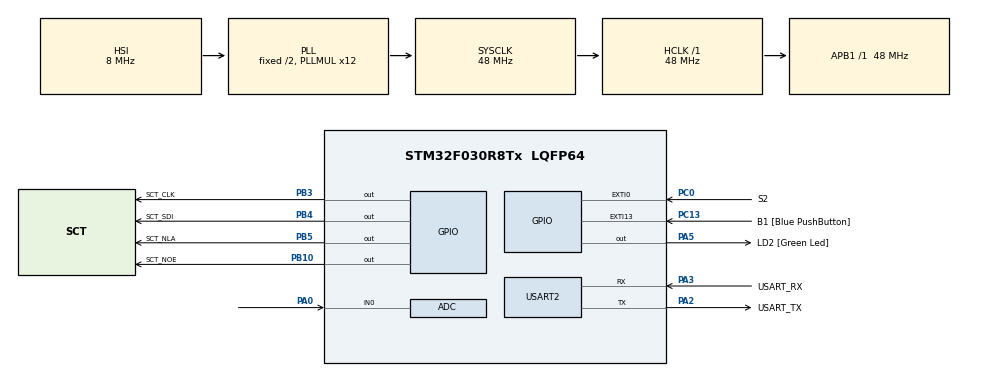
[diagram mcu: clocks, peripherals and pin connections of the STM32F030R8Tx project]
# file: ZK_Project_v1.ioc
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ADC.ContinuousConvMode=ENABLE
ADC.Overrun=ADC_OVR_DATA_OVERWRITTEN
ADC.SamplingTime=ADC_SAMPLETIME_239CYCLES_5
Mcu.Family=STM32F0
Mcu.Name=STM32F030R8Tx
Mcu.Package=LQFP64
NVIC.ADC1_IRQn=true\:0\:0\:false\:false\:true\:true\:true\:true
NVIC.EXTI0_1_IRQn=true\:0\:0\:false\:false\:true\:true\:true\:true
PA0.Mode=IN0
PA0.Signal=ADC_IN0
PA13.GPIO_Label=TMS
PA13.Mode=Serial_Wire
PA13.Signal=SYS_SWDIO
PA14.GPIO_Label=TCK
PA14.Mode=Serial_Wire
PA14.Signal=SYS_SWCLK
PA2.GPIO_Label=USART_TX
PA2.GPIO_Mode=GPIO_MODE_AF_PP
PA2.GPIO_PuPd=GPIO_NOPULL
PA2.GPIO_Speed=GPIO_SPEED_FREQ_LOW
PA2.Mode=Asynchronous
PA2.Signal=USART2_TX
PA3.GPIO_Label=USART_RX
PA3.GPIO_Mode=GPIO_MODE_AF_PP
PA3.GPIO_PuPd=GPIO_NOPULL
PA3.GPIO_Speed=GPIO_SPEED_FREQ_LOW
PA3.Mode=Asynchronous
PA3.Signal=USART2_RX
PA5.GPIO_Label=LD2 [Green Led]
PA5.GPIO_Mode=GPIO_MODE_OUTPUT_PP
PA5.GPIO_PuPd=GPIO_NOPULL
PA5.GPIO_Speed=GPIO_SPEED_FREQ_LOW
PA5.Signal=GPIO_Output
PB10.GPIO_Label=SCT_NOE
PB10.Signal=GPIO_Output
PB3.GPIO_Label=SCT_CLK
PB3.Signal=GPIO_Output
PB4.GPIO_Label=SCT_SDI
PB4.Signal=GPIO_Output
PB5.GPIO_Label=SCT_NLA
PB5.Signal=GPIO_Output
PC0.GPIO_Label=S2
PC0.GPIO_PuPd=GPIO_PULLUP
PC0.Signal=GPXTI0
PC13.GPIO_Label=B1 [Blue PushButton]
PC13.GPIO_ModeDefaultEXTI=GPIO_MODE_IT_FALLING
PC13.Signal=GPXTI13
PC14-OSC32_IN.Mode=LSE-External-Oscillator
PC14-OSC32_IN.Signal=RCC_OSC32_IN
PC15-OSC32_OUT.Mode=LSE-External-Oscillator
PC15-OSC32_OUT.Signal=RCC_OSC32_OUT
PF0-OSC_IN.Mode=HSE-External-Clock-Source
PF0-OSC_IN.Signal=RCC_OSC_IN
PF1-OSC_OUT.Signal=RCC_OSC_OUT
ProjectManager.HeapSize=0x200
ProjectManager.StackSize=0x400
ProjectManager.TargetToolchain=STM32CubeIDE
RCC.AHBFreq_Value=48000000
RCC.APB1Freq_Value=48000000
RCC.APB1TimFreq_Value=48000000
RCC.HCLKFreq_Value=48000000
RCC.PLLMUL=RCC_PLL_MUL12
RCC.SYSCLKFreq_VALUE=48000000
RCC.SYSCLKSource=RCC_SYSCLKSOURCE_PLLCLK
USART2.VirtualMode-Asynchronous=VM_ASYNC
board=NUCLEO-F030R8

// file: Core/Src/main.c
/* USER CODE BEGIN Header */
/**
  ******************************************************************************
  * @file           : main.c
  * @brief          : Main program body
  ******************************************************************************
  * @attention
  *
  * Copyright (c) 2023 STMicroelectronics.
  * All rights reserved.
  *
  * This software is licensed under terms that can be found in the LICENSE file
  * in the root directory of this software component.
  * If no LICENSE file comes with this software, it is provided AS-IS.
  *
  ******************************************************************************
  */
/* USER CODE END Header */
#include "main.h"

/* USER CODE BEGIN Includes */
#include "sct.h"

/* USER CODE END Includes */

/* USER CODE BEGIN PD */
#define LED_TIME_BLINK 300
#define LED_TIME_SHORT 100
#define LED_TIME_LONG 1000

/* USER CODE END PD */

ADC_HandleTypeDef hadc;

UART_HandleTypeDef huart2;

void SystemClock_Config(void);
static void MX_GPIO_Init(void);
static void MX_USART2_UART_Init(void);
static void MX_ADC_Init(void);

/* USER CODE BEGIN 0 */
#define ADC_Q 12
static volatile uint32_t raw_pot;
static uint32_t avg_pot;
static volatile uint32_t raw_temp;
static volatile uint32_t raw_volt;
volatile uint32_t Tick;
static uint32_t SPEED;
static uint32_t i=0;
static uint8_t flag = 0;
static uint32_t delay;

void baragrafShow(void)
{
	sct_value2(i);
}

void baragrafUP(void)
{
	if (flag == 0){
		i++;
		if(i>=8){
			flag = 1;
		}
	}
	if (flag == 1){
		i--;
		if (i>0){
			flag = 0;
		}
	}
}

void HAL_ADC_ConvCpltCallback(ADC_HandleTypeDef* hadc)
{
	static uint8_t channel;

	SPEED = HAL_ADC_GetValue(hadc)/60;

	//NEW
	if (channel == 0) {
		raw_pot = avg_pot >> ADC_Q;
		avg_pot -= raw_pot;
		avg_pot += HAL_ADC_GetValue(hadc);
	} else if (channel == 1) {
		raw_volt = HAL_ADC_GetValue(hadc);
	} else if (channel == 2) {
		raw_temp = HAL_ADC_GetValue(hadc);
	}

    if (__HAL_ADC_GET_FLAG(hadc, ADC_FLAG_EOS)) channel = 0;
    else channel++;
}

/* USER CODE END 0 */

int main(void)
{

  /* MCU Configuration--------------------------------------------------------*/

  /* Reset of all peripherals, Initializes the Flash interface and the Systick. */
  HAL_Init();

  /* Configure the system clock */
  SystemClock_Config();

  /* Initialize all configured peripherals */
  MX_GPIO_Init();
  MX_USART2_UART_Init();
  MX_ADC_Init();
  /* USER CODE BEGIN 2 */

  /* Kalibrace a spousteni ADC */
  HAL_ADCEx_Calibration_Start(&hadc);
  HAL_ADC_Start_IT(&hadc);

  /* USER CODE END 2 */

  /* Infinite loop */
  while (1)
  {

    /* USER CODE BEGIN 3 */

	  for (uint8_t i = 0; i <= 8; i++) {
			sct_value2( i);
			HAL_Delay(SPEED);
	  }
	  for (uint8_t i = 7; i > 0; i--) {
			sct_value2( i);
			HAL_Delay(SPEED);
	  }

	  HAL_Delay(SPEED);

	  //baragrafShow();
	  //baragrafUP();

  }
  /* USER CODE END 3 */
}

void SystemClock_Config(void)
{
  RCC_OscInitTypeDef RCC_OscInitStruct = {0};
  RCC_ClkInitTypeDef RCC_ClkInitStruct = {0};

  /** Initializes the RCC Oscillators according to the specified parameters
  * in the RCC_OscInitTypeDef structure.
  */
  RCC_OscInitStruct.OscillatorType = RCC_OSCILLATORTYPE_HSI|RCC_OSCILLATORTYPE_HSI14;
  RCC_OscInitStruct.HSIState = RCC_HSI_ON;
  RCC_OscInitStruct.HSI14State = RCC_HSI14_ON;
  RCC_OscInitStruct.HSICalibrationValue = RCC_HSICALIBRATION_DEFAULT;
  RCC_OscInitStruct.HSI14CalibrationValue = 16;
  RCC_OscInitStruct.PLL.PLLState = RCC_PLL_ON;
  RCC_OscInitStruct.PLL.PLLSource = RCC_PLLSOURCE_HSI;
  RCC_OscInitStruct.PLL.PLLMUL = RCC_PLL_MUL12;
  RCC_OscInitStruct.PLL.PREDIV = RCC_PREDIV_DIV1;
  if (HAL_RCC_OscConfig(&RCC_OscInitStruct) != HAL_OK)
  {
    Error_Handler();
  }

  /** Initializes the CPU, AHB and APB buses clocks
  */
  RCC_ClkInitStruct.ClockType = RCC_CLOCKTYPE_HCLK|RCC_CLOCKTYPE_SYSCLK
                              |RCC_CLOCKTYPE_PCLK1;
  RCC_ClkInitStruct.SYSCLKSource = RCC_SYSCLKSOURCE_PLLCLK;
  RCC_ClkInitStruct.AHBCLKDivider = RCC_SYSCLK_DIV1;
  RCC_ClkInitStruct.APB1CLKDivider = RCC_HCLK_DIV1;

  if (HAL_RCC_ClockConfig(&RCC_ClkInitStruct, FLASH_LATENCY_1) != HAL_OK)
  {
    Error_Handler();
  }
}

static void MX_ADC_Init(void)
{

  ADC_ChannelConfTypeDef sConfig = {0};

  /** Configure the global features of the ADC (Clock, Resolution, Data Alignment and number of conversion)
  */
  hadc.Instance = ADC1;
  hadc.Init.ClockPrescaler = ADC_CLOCK_ASYNC_DIV1;
  hadc.Init.Resolution = ADC_RESOLUTION_12B;
  hadc.Init.DataAlign = ADC_DATAALIGN_RIGHT;
  hadc.Init.ScanConvMode = ADC_SCAN_DIRECTION_FORWARD;
  hadc.Init.EOCSelection = ADC_EOC_SINGLE_CONV;
  hadc.Init.LowPowerAutoWait = DISABLE;
  hadc.Init.LowPowerAutoPowerOff = DISABLE;
  hadc.Init.ContinuousConvMode = ENABLE;
  hadc.Init.DiscontinuousConvMode = DISABLE;
  hadc.Init.ExternalTrigConv = ADC_SOFTWARE_START;
  hadc.Init.ExternalTrigConvEdge = ADC_EXTERNALTRIGCONVEDGE_NONE;
  hadc.Init.DMAContinuousRequests = DISABLE;
  hadc.Init.Overrun = ADC_OVR_DATA_OVERWRITTEN;
  if (HAL_ADC_Init(&hadc) != HAL_OK)
  {
    Error_Handler();
  }

  /** Configure for the selected ADC regular channel to be converted.
  */
  sConfig.Channel = ADC_CHANNEL_0;
  sConfig.Rank = ADC_RANK_CHANNEL_NUMBER;
  sConfig.SamplingTime = ADC_SAMPLETIME_239CYCLES_5;
  if (HAL_ADC_ConfigChannel(&hadc, &sConfig) != HAL_OK)
  {
    Error_Handler();
  }

}

static void MX_USART2_UART_Init(void)
{

  huart2.Instance = USART2;
  huart2.Init.BaudRate = 38400;
  huart2.Init.WordLength = UART_WORDLENGTH_8B;
  huart2.Init.StopBits = UART_STOPBITS_1;
  huart2.Init.Parity = UART_PARITY_NONE;
  huart2.Init.Mode = UART_MODE_TX_RX;
  huart2.Init.HwFlowCtl = UART_HWCONTROL_NONE;
  huart2.Init.OverSampling = UART_OVERSAMPLING_16;
  huart2.Init.OneBitSampling = UART_ONE_BIT_SAMPLE_DISABLE;
  huart2.AdvancedInit.AdvFeatureInit = UART_ADVFEATURE_NO_INIT;
  if (HAL_UART_Init(&huart2) != HAL_OK)
  {
    Error_Handler();
  }

}

static void MX_GPIO_Init(void)
{
  GPIO_InitTypeDef GPIO_InitStruct = {0};

  /* GPIO Ports Clock Enable */
  __HAL_RCC_GPIOC_CLK_ENABLE();
  __HAL_RCC_GPIOF_CLK_ENABLE();
  __HAL_RCC_GPIOA_CLK_ENABLE();
  __HAL_RCC_GPIOB_CLK_ENABLE();

  /*Configure GPIO pin Output Level */
  HAL_GPIO_WritePin(LD2_GPIO_Port, LD2_Pin, GPIO_PIN_RESET);

  /*Configure GPIO pin Output Level */
  HAL_GPIO_WritePin(GPIOB, SCT_NOE_Pin|SCT_CLK_Pin|SCT_SDI_Pin|SCT_NLA_Pin, GPIO_PIN_RESET);

  /*Configure GPIO pin : B1_Pin */
  GPIO_InitStruct.Pin = B1_Pin;
  GPIO_InitStruct.Mode = GPIO_MODE_IT_FALLING;
  GPIO_InitStruct.Pull = GPIO_NOPULL;
  HAL_GPIO_Init(B1_GPIO_Port, &GPIO_InitStruct);

  /*Configure GPIO pin : S2_Pin */
  GPIO_InitStruct.Pin = S2_Pin;
  GPIO_InitStruct.Mode = GPIO_MODE_IT_RISING;
  GPIO_InitStruct.Pull = GPIO_PULLUP;
  HAL_GPIO_Init(S2_GPIO_Port, &GPIO_InitStruct);

  /*Configure GPIO pin : LD2_Pin */
  GPIO_InitStruct.Pin = LD2_Pin;
  GPIO_InitStruct.Mode = GPIO_MODE_OUTPUT_PP;
  GPIO_InitStruct.Pull = GPIO_NOPULL;
  GPIO_InitStruct.Speed = GPIO_SPEED_FREQ_LOW;
  HAL_GPIO_Init(LD2_GPIO_Port, &GPIO_InitStruct);

  /*Configure GPIO pins : SCT_NOE_Pin SCT_CLK_Pin SCT_SDI_Pin SCT_NLA_Pin */
  GPIO_InitStruct.Pin = SCT_NOE_Pin|SCT_CLK_Pin|SCT_SDI_Pin|SCT_NLA_Pin;
  GPIO_InitStruct.Mode = GPIO_MODE_OUTPUT_PP;
  GPIO_InitStruct.Pull = GPIO_NOPULL;
  GPIO_InitStruct.Speed = GPIO_SPEED_FREQ_LOW;
  HAL_GPIO_Init(GPIOB, &GPIO_InitStruct);

  /* EXTI interrupt init*/
  HAL_NVIC_SetPriority(EXTI0_1_IRQn, 0, 0);
  HAL_NVIC_EnableIRQ(EXTI0_1_IRQn);

}

void Error_Handler(void)
{
  __disable_irq();
  while (1)
  {
  }
}
